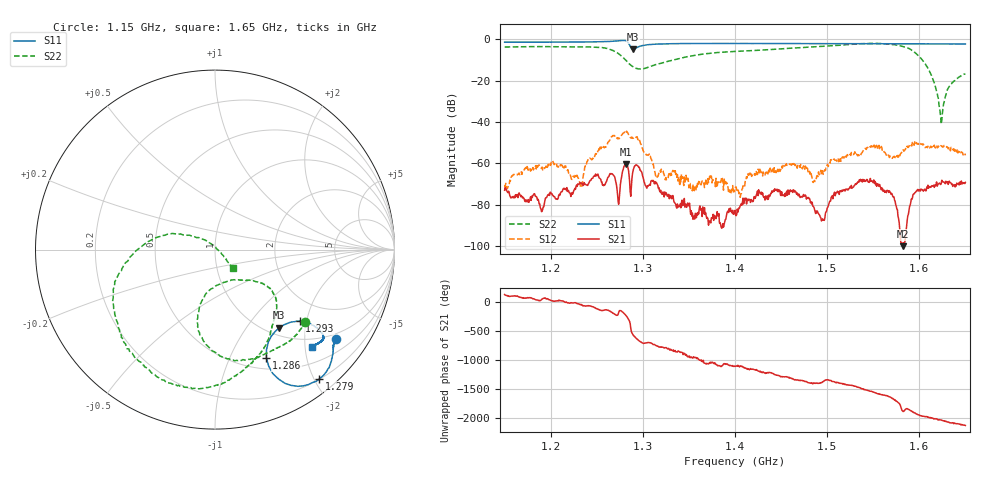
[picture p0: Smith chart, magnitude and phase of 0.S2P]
! C:\Users\rflab\Downloads\Lab5_KD_ZW\Q2\0.S2P
! Touchstone 1.1 file saved by VNA.EXE V1.65 (www.ke5fx.com/gpib/readme.htm)
! 11/12/2024 1:15:15 AM
!  Source: HEWLETT PACKARD,8753D,0,6.14
!  Min freq: 1.150000E+009 Hz
!  Max freq: 1.650000E+009 Hz
!  Points: 801
!  Params: S11 S21 S12 S22
# GHZ S RI R 50
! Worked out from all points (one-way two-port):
!   801 points, 1.15 GHz to 1.65 GHz, reference 50 ohm
!   highest |S21| = -60.41 dB at 1.282 GHz (marker M1); lowest = -100.0 dB at 1.583 GHz (marker M2)
!   lowest |S11| = -5.0 dB at 1.289 GHz (marker M3), VSWR 3.58, Z = 56.7 - j72.3 ohm
!   |S11| at or under -10 dB: nowhere
!   |S22| runs from -41.0 to -2.1 dB; largest |S21 - S12| = 0.0054
!   S11 on the Smith chart (normalised r, x): 1.15 GHz: 0.83, -2.82; 1.279 GHz: 0.21, -2.07; 1.286 GHz: 0.63, -1.38; 1.293 GHz: 1.41, -1.82; 1.65 GHz: 0.83, -2.14
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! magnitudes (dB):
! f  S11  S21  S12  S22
! 1.15 GHz  -1.5  -73.0  -70.5  -3.8
! 1.203 GHz  -1.5  -76.0  -59.8  -3.7
! 1.234 GHz  -1.4  -69.3  -71.4  -3.8
! 1.266 GHz  -1.1  -65.1  -47.1  -5.3
! 1.274 GHz  -0.8  -79.7  -48.1  -7.1
! 1.279 GHz  -0.7  -61.7  -45.3  -9.3
! 1.282 GHz  -0.9  -60.4  -44.8  -10.3
! 1.286 GHz  -3.5  -73.6  -47.4  -12.3
! 1.289 GHz  -5.0  -63.6  -47.9  -13.3
! 1.293 GHz  -4.2  -60.7  -47.2  -14.2
! 1.317 GHz  -2.4  -72.1  -65.6  -12.0
! 1.337 GHz  -2.2  -79.6  -65.4  -9.7
! 1.4 GHz  -2.1  -82.7  -73.2  -6.0
! 1.458 GHz  -2.2  -73.3  -60.1  -4.5
! 1.484 GHz  -2.2  -78.7  -67.1  -3.8
! 1.536 GHz  -2.2  -67.7  -56.2  -2.3
! 1.567 GHz  -2.3  -74.0  -56.1  -2.5
! 1.583 GHz  -2.3  -100.0  -53.5  -3.7
! 1.609 GHz  -2.3  -71.8  -52.4  -13.6
! 1.624 GHz  -2.3  -69.7  -51.5  -41.0
! 1.633 GHz  -2.4  -69.2  -52.3  -22.6
! 1.65 GHz  -2.4  -69.2  -56.1  -16.7
